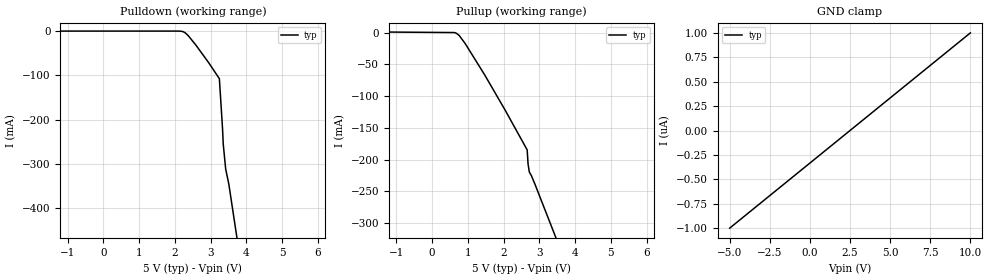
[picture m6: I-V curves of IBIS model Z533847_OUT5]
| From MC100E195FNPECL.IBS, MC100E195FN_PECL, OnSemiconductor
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| (C) COPYRIGHT 1993-2000
| MENTOR GRAPHICS CORPORATION
| ICX STANDARD LIBRARY, ICX PROJECT MODELING,
| ICX CUSTOM MODELING, ICX VENDOR MODEL
| ALL RIGHTS RESERVED.
| THE FOLLOWING ARE TRADEMARKS OR SERVICE MARKS OF
| MENTOR GRAPHICS CORPORATION:ICX (R), ICX STANDARD
| LIBRARY(R), ICX PROJECT MODELING(R), ICX CUSTOM
| MODELING(R), qualityIBIS(TM), MODELVIEWER(TM),
| AND MODELEDITOR(TM)
| ALL COPIES OF SOFTWARE, INCLUDING BUT NOT LIMITED TO
| ANY MODIFICATIONS, ENHANCEMENTS OR DERIVATIVE WORKS,
| MUST CONTAIN ALL MENTOR GRAPHICS CORPORATION'S
| NOTICES AND LEGENDS, INCLUDING THOSE EMBEDDED IN
| SOFTWARE AND THOSE AFFIXED TO SOFTWARE MEDIUM
| AND CONTAINER, AS RECEIVED FROM MENTOR GRAPHICS
| CORPORATION.
| Model Application Version 1.89 2/18/99.
[Model] Z533847_OUT5
Model_type Output_ECL
Vref=3.000V
Rref=50.00ohms
Cref=0.000F
Vmeas=3.677V
C_comp 8.000pF NA NA
| variable typ   min   max
[Voltage Range] 5.000V NA NA
[POWER Clamp Reference] 5.000V NA NA
[Pullup Reference] 5.000V NA NA
[Pulldown Reference] 5.000V NA NA
[GND Clamp Reference] 0.000V NA NA
[GND Clamp]
-5V       -1uA       NA         NA
10V       1uA        NA         NA
[Pulldown]
-5V       266.8uA    NA         NA
1.963V    266.8uA    NA         NA
2.238V    -1.395mA   NA         NA
2.371V    -10.02mA   NA         NA
2.587V    -31.61mA   NA         NA
2.943V    -71.27mA   NA         NA
3.242V    -107.5mA   NA         NA
3.33V     -220.1mA   NA         NA
3.35V     -255.5mA   NA         NA
3.418V    -311.8mA   NA         NA
3.506V    -346mA     NA         NA
10V       -3.824A    NA         NA
[Pullup]
-5V       2.328mA    NA         NA
643mV     -293.4uA   NA         NA
761mV     -4.71mA    NA         NA
928mV     -17.36mA   NA         NA
1.474V    -66.8mA    NA         NA
2.051V    -122.8mA   NA         NA
2.661V    -184.8mA   NA         NA
2.686V    -207mA     NA         NA
2.721V    -219.6mA   NA         NA
2.778V    -225.3mA   NA         NA
2.881V    -239.2mA   NA         NA
10V       -1.264A    NA         NA
[POWER Clamp]
-5V       0A         NA         NA
10V       0A         NA         NA
[Ramp]
| variable typ min max
dV/dt_r 900.3m/1.976n NA NA
dV/dt_f 900.3m/1.494n NA NA
R_load = 500.0Ohms
